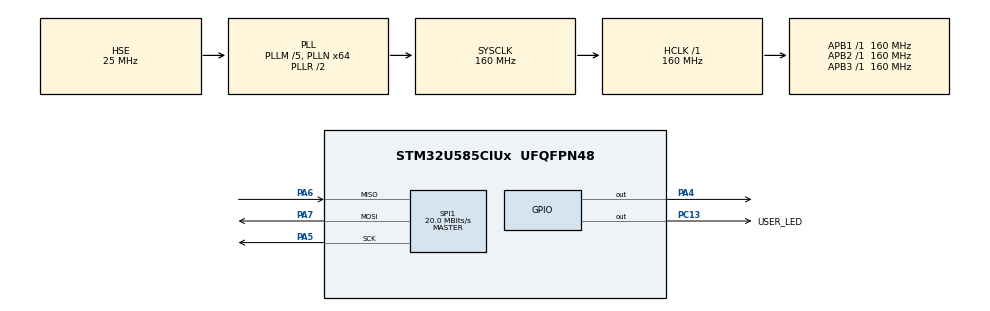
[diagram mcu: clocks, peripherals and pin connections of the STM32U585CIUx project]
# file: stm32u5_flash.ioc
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CORTEX_M33_NS.userName=CORTEX_M33
GPDMA1.DESTINC_GPDMACH1=DMA_DINC_INCREMENTED
GPDMA1.DIRECTION_GPDMACH0=DMA_MEMORY_TO_PERIPH
GPDMA1.IPHANDLE_GPDMACH0-SIMPLEREQUEST_GPDMACH0=__NULL
GPDMA1.IPHANDLE_GPDMACH1-SIMPLEREQUEST_GPDMACH1=__NULL
GPDMA1.REQUEST_GPDMACH0=GPDMA1_REQUEST_SPI1_TX
GPDMA1.REQUEST_GPDMACH1=GPDMA1_REQUEST_SPI1_RX
GPDMA1.SRCINC_GPDMACH0=DMA_SINC_INCREMENTED
Mcu.Family=STM32U5
Mcu.Name=STM32U585CIUx
Mcu.Package=UFQFPN48
NVIC.GPDMA1_Channel0_IRQn=true\:0\:0\:false\:false\:true\:true\:true\:true
NVIC.GPDMA1_Channel1_IRQn=true\:0\:0\:false\:false\:true\:true\:true\:true
NVIC.PriorityGroup=NVIC_PRIORITYGROUP_4
NVIC.SPI1_IRQn=true\:0\:0\:false\:false\:true\:true\:true\:true
PA13\ (JTMS/SWDIO).Mode=Serial_Wire
PA13\ (JTMS/SWDIO).Signal=DEBUG_JTMS-SWDIO
PA14\ (JTCK/SWCLK).Mode=Serial_Wire
PA14\ (JTCK/SWCLK).Signal=DEBUG_JTCK-SWCLK
PA4.Signal=GPIO_Output
PA5.Mode=Full_Duplex_Master
PA5.Signal=SPI1_SCK
PA6.Mode=Full_Duplex_Master
PA6.Signal=SPI1_MISO
PA7.Mode=Full_Duplex_Master
PA7.Signal=SPI1_MOSI
PC13.GPIO_Label=USER_LED
PC13.Signal=GPIO_Output
PC14-OSC32_IN\ (PC14).Mode=LSE-External-Oscillator
PC14-OSC32_IN\ (PC14).Signal=RCC_OSC32_IN
PC15-OSC32_OUT\ (PC15).Mode=LSE-External-Oscillator
PC15-OSC32_OUT\ (PC15).Signal=RCC_OSC32_OUT
PH0-OSC_IN\ (PH0).Mode=HSE-External-Oscillator
PH0-OSC_IN\ (PH0).Signal=RCC_OSC_IN
PH1-OSC_OUT\ (PH1).Mode=HSE-External-Oscillator
PH1-OSC_OUT\ (PH1).Signal=RCC_OSC_OUT
ProjectManager.HeapSize=0x200
ProjectManager.StackSize=0x400
ProjectManager.TargetToolchain=STM32CubeIDE
RCC.ADCFreq_Value=16000000
RCC.AHBFreq_Value=160000000
RCC.APB1Freq_Value=160000000
RCC.APB1TimFreq_Value=160000000
RCC.APB2Freq_Value=160000000
RCC.APB2TimFreq_Value=160000000
RCC.APB3Freq_Value=160000000
RCC.CortexFreq_Value=160000000
RCC.EPOD_VALUE=25000000
RCC.HCLKFreq_Value=160000000
RCC.HSE_VALUE=25000000
RCC.HSI48_VALUE=48000000
RCC.HSI_VALUE=16000000
RCC.LSIDIV_VALUE=32000
RCC.MSIClockRange=RCC_MSIRANGE_0
RCC.MSI_VALUE=48000000
RCC.PLL2FRACN=0
RCC.PLL3FRACN=0
RCC.PLLFRACN=0
RCC.PLLM=5
RCC.PLLN=64
RCC.PLLSourceVirtual=RCC_PLLSOURCE_HSE
RCC.SYSCLKFreq_VALUE=160000000
RCC.SYSCLKSource=RCC_SYSCLKSOURCE_PLLCLK
RCC.USBFreq_Value=48000000
RCC.VCOOutputFreq_Value=320000000
RTC.Date=31
RTC.Month=RTC_MONTH_AUGUST
RTC.Year=26
SPI1.BaudRatePrescaler=SPI_BAUDRATEPRESCALER_8
SPI1.CalculateBaudRate=20.0 MBits/s
SPI1.DataSize=SPI_DATASIZE_8BIT
SPI1.Direction=SPI_DIRECTION_2LINES
SPI1.FifoThreshold=SPI_FIFO_THRESHOLD_08DATA
SPI1.Mode=SPI_MODE_MASTER
SPI1.VirtualType=VM_MASTER
VP_GPDMA1_VS_GPDMACH0.Mode=SIMPLEREQUEST_GPDMACH0
VP_GPDMA1_VS_GPDMACH1.Mode=SIMPLEREQUEST_GPDMACH1
VP_ICACHE_VS_ENABLE_ICACHE_MEMORY.Mode=Memoryregions
VP_ICACHE_VS_ICACHE.Mode=DirectMappedCache
VP_LPBAMQUEUE_VS_QUEUE.Mode=QUEUEMODE
VP_LPBAM_VS_SIG1.Mode=SmartRun
VP_LPBAM_VS_SIG4.Mode=LPDMA1
VP_MEMORYMAP_VS_MEMORYMAP.Mode=CurAppReg
VP_PWR_VS_SECSignals.Mode=Security/Privilege
VP_RTC_VS_RTC_Activate.Mode=RTC_Enabled
VP_RTC_VS_RTC_Calendar.Mode=RTC_Calendar
board=custom

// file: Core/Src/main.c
/* USER CODE BEGIN Header */
/**
  ******************************************************************************
  * @file           : main.c
  * @brief          : Main program body
  ******************************************************************************
  * @attention
  *
  * Copyright (c) 2026 STMicroelectronics.
  * All rights reserved.
  *
  * This software is licensed under terms that can be found in the LICENSE file
  * in the root directory of this software component.
  * If no LICENSE file comes with this software, it is provided AS-IS.
  *
  ******************************************************************************
  */
/* USER CODE END Header */
#include "main.h"

/* USER CODE BEGIN Includes */
#include "driver_w25qxx_basic.h"
/* USER CODE END Includes */

/* USER CODE BEGIN PD */
#define TEST_ADDR       0x000000U
#define TEST_LEN        256U
/* USER CODE END PD */

RTC_HandleTypeDef hrtc;

SPI_HandleTypeDef hspi1;
DMA_HandleTypeDef handle_GPDMA1_Channel1;
DMA_HandleTypeDef handle_GPDMA1_Channel0;

/* USER CODE BEGIN PV */
static uint8_t gs_wr_buf[TEST_LEN];
static uint8_t gs_rd_buf[TEST_LEN];
/* USER CODE END PV */

void SystemClock_Config(void);
static void MX_GPIO_Init(void);
static void MX_GPDMA1_Init(void);
static void MX_SPI1_Init(void);
static void MX_ICACHE_Init(void);
static void MX_RTC_Init(void);
/* USER CODE BEGIN PFP */
static uint8_t flash_self_test(void);
/* USER CODE END PFP */

/* USER CODE BEGIN 0 */
/**
 * @brief  probe the w25q64 over spi1 dma: id, write, read back
 * @return 0 on success, 1 on failure
 */
static uint8_t flash_self_test(void)
{
    uint8_t manufacturer = 0;
    uint8_t device_id = 0;
    uint32_t i;

    if (w25qxx_basic_init(W25Q64, W25QXX_INTERFACE_SPI, W25QXX_BOOL_FALSE) != 0)
    {
        return 1;
    }

    if (w25qxx_basic_get_id(&manufacturer, &device_id) != 0)
    {
        return 1;
    }

    /* winbond 0xEF, w25q64jv 0x16 */
    if ((manufacturer != 0xEF) || (device_id != 0x16))
    {
        return 1;
    }

    for (i = 0; i < TEST_LEN; i++)
    {
        gs_wr_buf[i] = (uint8_t)(i ^ 0x5A);
    }

    if (w25qxx_basic_write(TEST_ADDR, gs_wr_buf, TEST_LEN) != 0)
    {
        return 1;
    }

    memset(gs_rd_buf, 0, TEST_LEN);
    if (w25qxx_basic_read(TEST_ADDR, gs_rd_buf, TEST_LEN) != 0)
    {
        return 1;
    }

    if (memcmp(gs_wr_buf, gs_rd_buf, TEST_LEN) != 0)
    {
        return 1;
    }

    return 0;
}
/* USER CODE END 0 */

int main(void)
{

  /* MCU Configuration--------------------------------------------------------*/

  /* Reset of all peripherals, Initializes the Flash interface and the Systick. */
  HAL_Init();

  /* Configure the system clock */
  SystemClock_Config();

  /* Initialize all configured peripherals */
  MX_GPIO_Init();
  MX_GPDMA1_Init();
  MX_SPI1_Init();
  MX_ICACHE_Init();
  MX_RTC_Init();
  /* USER CODE BEGIN 2 */
  uint8_t flash_ok = (flash_self_test() == 0) ? 1 : 0;

  if (flash_ok == 0)
  {
    HAL_GPIO_WritePin(USER_LED_GPIO_Port, USER_LED_Pin, GPIO_PIN_RESET);
  }
  /* USER CODE END 2 */

  /* Infinite loop */
  while (1)
  {

    /* USER CODE BEGIN 3 */
    if (flash_ok != 0)
    {
      HAL_GPIO_TogglePin(USER_LED_GPIO_Port, USER_LED_Pin);
      HAL_Delay(200);
    }
  }
  /* USER CODE END 3 */
}

void SystemClock_Config(void)
{
  RCC_OscInitTypeDef RCC_OscInitStruct = {0};
  RCC_ClkInitTypeDef RCC_ClkInitStruct = {0};

  /** Configure the main internal regulator output voltage
  */
  if (HAL_PWREx_ControlVoltageScaling(PWR_REGULATOR_VOLTAGE_SCALE1) != HAL_OK)
  {
    Error_Handler();
  }

  /** Initializes the CPU, AHB and APB buses clocks
  */
  RCC_OscInitStruct.OscillatorType = RCC_OSCILLATORTYPE_LSI|RCC_OSCILLATORTYPE_HSE;
  RCC_OscInitStruct.HSEState = RCC_HSE_ON;
  RCC_OscInitStruct.LSIState = RCC_LSI_ON;
  RCC_OscInitStruct.LSIDiv = RCC_LSI_DIV1;
  RCC_OscInitStruct.PLL.PLLState = RCC_PLL_ON;
  RCC_OscInitStruct.PLL.PLLSource = RCC_PLLSOURCE_HSE;
  RCC_OscInitStruct.PLL.PLLMBOOST = RCC_PLLMBOOST_DIV2;
  RCC_OscInitStruct.PLL.PLLM = 5;
  RCC_OscInitStruct.PLL.PLLN = 64;
  RCC_OscInitStruct.PLL.PLLP = 2;
  RCC_OscInitStruct.PLL.PLLQ = 2;
  RCC_OscInitStruct.PLL.PLLR = 2;
  RCC_OscInitStruct.PLL.PLLRGE = RCC_PLLVCIRANGE_0;
  RCC_OscInitStruct.PLL.PLLFRACN = 0;
  if (HAL_RCC_OscConfig(&RCC_OscInitStruct) != HAL_OK)
  {
    Error_Handler();
  }

  /** Initializes the CPU, AHB and APB buses clocks
  */
  RCC_ClkInitStruct.ClockType = RCC_CLOCKTYPE_HCLK|RCC_CLOCKTYPE_SYSCLK
                              |RCC_CLOCKTYPE_PCLK1|RCC_CLOCKTYPE_PCLK2
                              |RCC_CLOCKTYPE_PCLK3;
  RCC_ClkInitStruct.SYSCLKSource = RCC_SYSCLKSOURCE_PLLCLK;
  RCC_ClkInitStruct.AHBCLKDivider = RCC_SYSCLK_DIV1;
  RCC_ClkInitStruct.APB1CLKDivider = RCC_HCLK_DIV1;
  RCC_ClkInitStruct.APB2CLKDivider = RCC_HCLK_DIV1;
  RCC_ClkInitStruct.APB3CLKDivider = RCC_HCLK_DIV1;

  if (HAL_RCC_ClockConfig(&RCC_ClkInitStruct, FLASH_LATENCY_4) != HAL_OK)
  {
    Error_Handler();
  }
}

static void MX_GPDMA1_Init(void)
{

  /* Peripheral clock enable */
  __HAL_RCC_GPDMA1_CLK_ENABLE();

  /* GPDMA1 interrupt Init */
    HAL_NVIC_SetPriority(GPDMA1_Channel0_IRQn, 0, 0);
    HAL_NVIC_EnableIRQ(GPDMA1_Channel0_IRQn);
    HAL_NVIC_SetPriority(GPDMA1_Channel1_IRQn, 0, 0);
    HAL_NVIC_EnableIRQ(GPDMA1_Channel1_IRQn);

}

static void MX_ICACHE_Init(void)
{

  /** Enable instruction cache in 1-way (direct mapped cache)
  */
  if (HAL_ICACHE_ConfigAssociativityMode(ICACHE_1WAY) != HAL_OK)
  {
    Error_Handler();
  }
  if (HAL_ICACHE_Enable() != HAL_OK)
  {
    Error_Handler();
  }

}

static void MX_RTC_Init(void)
{

  RTC_PrivilegeStateTypeDef privilegeState = {0};
  RTC_TimeTypeDef sTime = {0};
  RTC_DateTypeDef sDate = {0};

  /** Initialize RTC Only
  */
  hrtc.Instance = RTC;
  hrtc.Init.HourFormat = RTC_HOURFORMAT_24;
  hrtc.Init.AsynchPrediv = 127;
  hrtc.Init.SynchPrediv = 255;
  hrtc.Init.OutPut = RTC_OUTPUT_DISABLE;
  hrtc.Init.OutPutRemap = RTC_OUTPUT_REMAP_NONE;
  hrtc.Init.OutPutPolarity = RTC_OUTPUT_POLARITY_HIGH;
  hrtc.Init.OutPutType = RTC_OUTPUT_TYPE_OPENDRAIN;
  hrtc.Init.OutPutPullUp = RTC_OUTPUT_PULLUP_NONE;
  hrtc.Init.BinMode = RTC_BINARY_NONE;
  if (HAL_RTC_Init(&hrtc) != HAL_OK)
  {
    Error_Handler();
  }
  privilegeState.rtcPrivilegeFull = RTC_PRIVILEGE_FULL_NO;
  privilegeState.backupRegisterPrivZone = RTC_PRIVILEGE_BKUP_ZONE_NONE;
  privilegeState.backupRegisterStartZone2 = RTC_BKP_DR0;
  privilegeState.backupRegisterStartZone3 = RTC_BKP_DR0;
  if (HAL_RTCEx_PrivilegeModeSet(&hrtc, &privilegeState) != HAL_OK)
  {
    Error_Handler();
  }

  /** Initialize RTC and set the Time and Date
  */
  sTime.Hours = 0x0;
  sTime.Minutes = 0x0;
  sTime.Seconds = 0x0;
  sTime.DayLightSaving = RTC_DAYLIGHTSAVING_NONE;
  sTime.StoreOperation = RTC_STOREOPERATION_RESET;
  if (HAL_RTC_SetTime(&hrtc, &sTime, RTC_FORMAT_BCD) != HAL_OK)
  {
    Error_Handler();
  }
  sDate.WeekDay = RTC_WEEKDAY_MONDAY;
  sDate.Month = RTC_MONTH_AUGUST;
  sDate.Date = 0x31;
  sDate.Year = 0x26;

  if (HAL_RTC_SetDate(&hrtc, &sDate, RTC_FORMAT_BCD) != HAL_OK)
  {
    Error_Handler();
  }

}

static void MX_SPI1_Init(void)
{

  SPI_AutonomousModeConfTypeDef HAL_SPI_AutonomousMode_Cfg_Struct = {0};

  /* SPI1 parameter configuration*/
  hspi1.Instance = SPI1;
  hspi1.Init.Mode = SPI_MODE_MASTER;
  hspi1.Init.Direction = SPI_DIRECTION_2LINES;
  hspi1.Init.DataSize = SPI_DATASIZE_8BIT;
  hspi1.Init.CLKPolarity = SPI_POLARITY_LOW;
  hspi1.Init.CLKPhase = SPI_PHASE_1EDGE;
  hspi1.Init.NSS = SPI_NSS_SOFT;
  hspi1.Init.BaudRatePrescaler = SPI_BAUDRATEPRESCALER_8;
  hspi1.Init.FirstBit = SPI_FIRSTBIT_MSB;
  hspi1.Init.TIMode = SPI_TIMODE_DISABLE;
  hspi1.Init.CRCCalculation = SPI_CRCCALCULATION_DISABLE;
  hspi1.Init.CRCPolynomial = 0x7;
  hspi1.Init.NSSPMode = SPI_NSS_PULSE_ENABLE;
  hspi1.Init.NSSPolarity = SPI_NSS_POLARITY_LOW;
  hspi1.Init.FifoThreshold = SPI_FIFO_THRESHOLD_08DATA;
  hspi1.Init.MasterSSIdleness = SPI_MASTER_SS_IDLENESS_00CYCLE;
  hspi1.Init.MasterInterDataIdleness = SPI_MASTER_INTERDATA_IDLENESS_00CYCLE;
  hspi1.Init.MasterReceiverAutoSusp = SPI_MASTER_RX_AUTOSUSP_DISABLE;
  hspi1.Init.MasterKeepIOState = SPI_MASTER_KEEP_IO_STATE_DISABLE;
  hspi1.Init.IOSwap = SPI_IO_SWAP_DISABLE;
  hspi1.Init.ReadyMasterManagement = SPI_RDY_MASTER_MANAGEMENT_INTERNALLY;
  hspi1.Init.ReadyPolarity = SPI_RDY_POLARITY_HIGH;
  if (HAL_SPI_Init(&hspi1) != HAL_OK)
  {
    Error_Handler();
  }
  HAL_SPI_AutonomousMode_Cfg_Struct.TriggerState = SPI_AUTO_MODE_DISABLE;
  HAL_SPI_AutonomousMode_Cfg_Struct.TriggerSelection = SPI_GRP1_GPDMA_CH0_TCF_TRG;
  HAL_SPI_AutonomousMode_Cfg_Struct.TriggerPolarity = SPI_TRIG_POLARITY_RISING;
  if (HAL_SPIEx_SetConfigAutonomousMode(&hspi1, &HAL_SPI_AutonomousMode_Cfg_Struct) != HAL_OK)
  {
    Error_Handler();
  }

}

static void MX_GPIO_Init(void)
{
  GPIO_InitTypeDef GPIO_InitStruct = {0};

  /* GPIO Ports Clock Enable */
  __HAL_RCC_GPIOC_CLK_ENABLE();
  __HAL_RCC_GPIOH_CLK_ENABLE();
  __HAL_RCC_GPIOA_CLK_ENABLE();

  /*Configure GPIO pin Output Level */
  HAL_GPIO_WritePin(USER_LED_GPIO_Port, USER_LED_Pin, GPIO_PIN_RESET);

  /*Configure GPIO pin Output Level */
  HAL_GPIO_WritePin(GPIOA, GPIO_PIN_4, GPIO_PIN_RESET);

  /*Configure GPIO pin : USER_LED_Pin */
  GPIO_InitStruct.Pin = USER_LED_Pin;
  GPIO_InitStruct.Mode = GPIO_MODE_OUTPUT_PP;
  GPIO_InitStruct.Pull = GPIO_NOPULL;
  GPIO_InitStruct.Speed = GPIO_SPEED_FREQ_LOW;
  HAL_GPIO_Init(USER_LED_GPIO_Port, &GPIO_InitStruct);

  /*Configure GPIO pin : PA4 */
  GPIO_InitStruct.Pin = GPIO_PIN_4;
  GPIO_InitStruct.Mode = GPIO_MODE_OUTPUT_PP;
  GPIO_InitStruct.Pull = GPIO_NOPULL;
  GPIO_InitStruct.Speed = GPIO_SPEED_FREQ_LOW;
  HAL_GPIO_Init(GPIOA, &GPIO_InitStruct);

}

void Error_Handler(void)
{
  __disable_irq();
  while (1)
  {
  }
}
